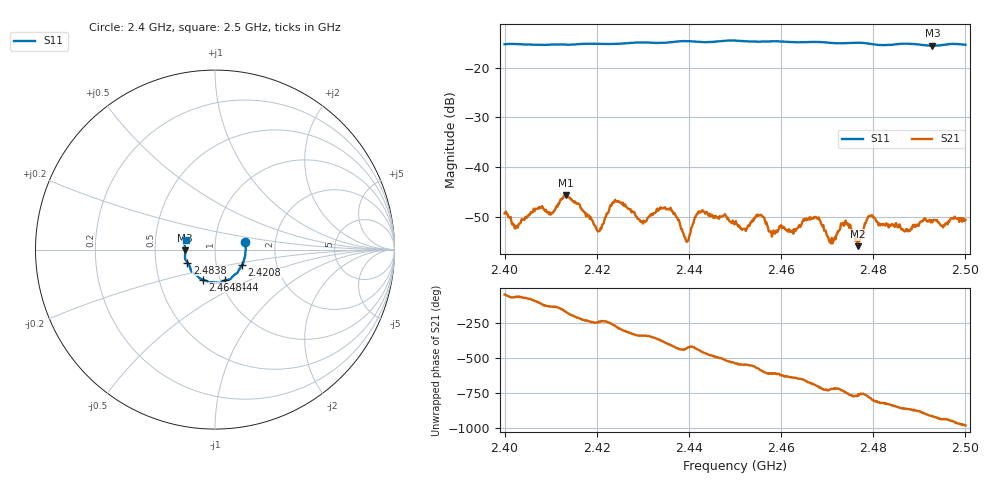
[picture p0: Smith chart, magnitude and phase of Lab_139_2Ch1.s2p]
# Hz S RI R 50
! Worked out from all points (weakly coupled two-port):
!   601 points, 2.4 GHz to 2.5 GHz, reference 50 ohm
!   highest |S21| = -45.71 dB at 2.4133 GHz (marker M1); lowest = -55.9 dB at 2.4767 GHz (marker M2)
!   lowest |S11| = -15.6 dB at 2.4928 GHz (marker M3), VSWR 1.40, Z = 35.8 - j0.328 ohm
!   |S11| at or under -10 dB: start of sweep to end of sweep
!   S12 and S22 are empty: the file has one direction only
!   S11 on the Smith chart (normalised r, x): 2.4 GHz: 1.39, +0.12; 2.4208 GHz: 1.33, -0.24; 2.444 GHz: 1.05, -0.37; 2.4648 GHz: 0.83, -0.29; 2.4838 GHz: 0.73, -0.11; 2.5 GHz: 0.72, +0.08
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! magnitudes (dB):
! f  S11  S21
! 2.4 GHz  -15.3  -49.3
! 2.4027 GHz  -15.2  -52.0
! 2.4133 GHz  -15.4  -45.7
! 2.4167 GHz  -15.2  -48.4
! 2.4208 GHz  -15.2  -52.2
! 2.424 GHz  -15.2  -46.6
! 2.43 GHz  -14.9  -51.4
! 2.4333 GHz  -15.0  -48.8
! 2.4365 GHz  -14.8  -49.0
! 2.4395 GHz  -14.7  -55.1
! 2.444 GHz  -14.9  -49.2
! 2.45 GHz  -14.5  -51.5
! 2.4648 GHz  -14.9  -50.5
! 2.4667 GHz  -14.8  -50.3
! 2.4708 GHz  -15.0  -55.4
! 2.4738 GHz  -15.1  -51.5
! 2.4767 GHz  -15.0  -55.9
! 2.4793 GHz  -15.2  -49.9
! 2.4833 GHz  -15.4  -52.2
! 2.4838 GHz  -15.4  -51.8
! 2.4928 GHz  -15.6  -51.1
! 2.5 GHz  -15.4  -50.6
